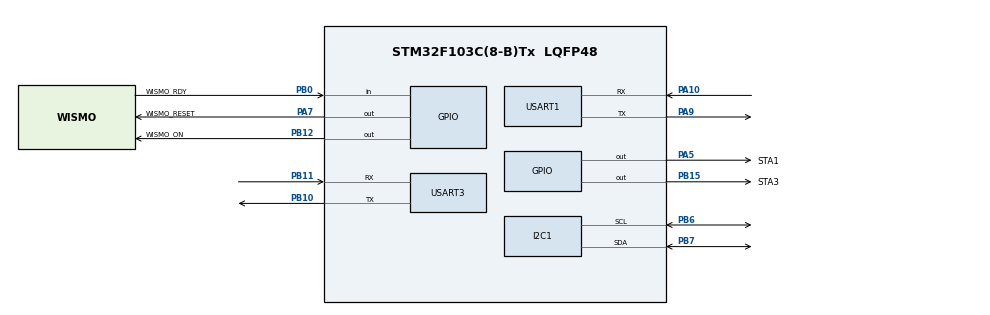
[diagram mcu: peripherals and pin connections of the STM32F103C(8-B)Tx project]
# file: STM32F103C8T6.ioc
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FREERTOS.BinarySemaphores01=myBinarySem01,Dynamic,NULL
FREERTOS.Queues01=datQueue,3,uint32_t,0,Dynamic,NULL,NULL;ledQueue,3,uint16_t,0,Dynamic,NULL,NULL
FREERTOS.Tasks01=defaultTaskName,0,128,defaultTask,Default,NULL,Dynamic,NULL,NULL;gsmTaskName,0,1024,GsmTask,As external,NULL,Dynamic,NULL,NULL;displayTaskName,0,128,displayTaskFunc,Default,NULL,Dynamic,NULL,NULL;LEDTaskName,0,128,LEDTask,Default,NULL,Dynamic,NULL,NULL;sttCheckRoutine,0,128,sttCheckRoutineTask,As external,NULL,Dynamic,NULL,NULL
FREERTOS.configTOTAL_HEAP_SIZE=8192
Mcu.Family=STM32F1
Mcu.Name=STM32F103C(8-B)Tx
Mcu.Package=LQFP48
NVIC.PriorityGroup=NVIC_PRIORITYGROUP_4
NVIC.TIM4_IRQn=true\:0\:0\:false\:false\:true\:false\:false
NVIC.TimeBase=TIM4_IRQn
NVIC.TimeBaseIP=TIM4
NVIC.USART1_IRQn=true\:5\:0\:false\:false\:true\:true\:true
NVIC.USART3_IRQn=true\:5\:0\:false\:false\:true\:true\:true
PA10.Mode=Asynchronous
PA10.Signal=USART1_RX
PA13.Mode=Serial_Wire
PA13.Signal=SYS_JTMS-SWDIO
PA14.Mode=Serial_Wire
PA14.Signal=SYS_JTCK-SWCLK
PA5.GPIO_Label=STA1
PA5.Signal=GPIO_Output
PA7.GPIO_Label=WISMO_RESET
PA7.Signal=GPIO_Output
PA9.Mode=Asynchronous
PA9.Signal=USART1_TX
PB0.GPIO_Label=WISMO_RDY
PB0.Signal=GPIO_Input
PB10.Mode=Asynchronous
PB10.Signal=USART3_TX
PB11.Mode=Asynchronous
PB11.Signal=USART3_RX
PB12.GPIO_Label=WISMO_ON
PB12.Signal=GPIO_Output
PB15.GPIO_Label=STA3
PB15.Signal=GPIO_Output
PB6.Mode=I2C
PB6.Signal=I2C1_SCL
PB7.Mode=I2C
PB7.Signal=I2C1_SDA
ProjectManager.HeapSize=0x200
ProjectManager.StackSize=0x400
ProjectManager.TargetToolchain=TrueSTUDIO
RCC.APB1Freq_Value=8000000
RCC.APB2Freq_Value=8000000
USART1.VirtualMode=VM_ASYNC
USART3.VirtualMode=VM_ASYNC
VP_FREERTOS_VS_ENABLE.Mode=Enabled
VP_SYS_VS_tim4.Mode=TIM4
board=custom

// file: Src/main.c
/* USER CODE BEGIN Header */
/**
  ******************************************************************************
  * @file           : main.c
  * @brief          : Main program body
  ******************************************************************************
  * This notice applies to any and all portions of this file
  * that are not between comment pairs USER CODE BEGIN and
  * USER CODE END. Other portions of this file, whether
  * inserted by the user or by software development tools
  * are owned by their respective copyright owners.
  *
  * Copyright (c) 2019 STMicroelectronics International N.V.
  * All rights reserved.
  *
  * Redistribution and use in source and binary forms, with or without
  * modification, are permitted, provided that the following conditions are met:
  *
  * 1. Redistribution of source code must retain the above copyright notice,
  *    this list of conditions and the following disclaimer.
  * 2. Redistributions in binary form must reproduce the above copyright notice,
  *    this list of conditions and the following disclaimer in the documentation
  *    and/or other materials provided with the distribution.
  * 3. Neither the name of STMicroelectronics nor the names of other
  *    contributors to this software may be used to endorse or promote products
  *    derived from this software without specific written permission.
  * 4. This software, including modifications and/or derivative works of this
  *    software, must execute solely and exclusively on microcontroller or
  *    microprocessor devices manufactured by or for STMicroelectronics.
  * 5. Redistribution and use of this software other than as permitted under
  *    this license is void and will automatically terminate your rights under
  *    this license.
  *
  * THIS SOFTWARE IS PROVIDED BY STMICROELECTRONICS AND CONTRIBUTORS "AS IS"
  * AND ANY EXPRESS, IMPLIED OR STATUTORY WARRANTIES, INCLUDING, BUT NOT
  * LIMITED TO, THE IMPLIED WARRANTIES OF MERCHANTABILITY, FITNESS FOR A
  * PARTICULAR PURPOSE AND NON-INFRINGEMENT OF THIRD PARTY INTELLECTUAL PROPERTY
  * RIGHTS ARE DISCLAIMED TO THE FULLEST EXTENT PERMITTED BY LAW. IN NO EVENT
  * SHALL STMICROELECTRONICS OR CONTRIBUTORS BE LIABLE FOR ANY DIRECT, INDIRECT,
  * INCIDENTAL, SPECIAL, EXEMPLARY, OR CONSEQUENTIAL DAMAGES (INCLUDING, BUT NOT
  * LIMITED TO, PROCUREMENT OF SUBSTITUTE GOODS OR SERVICES; LOSS OF USE, DATA,
  * OR PROFITS; OR BUSINESS INTERRUPTION) HOWEVER CAUSED AND ON ANY THEORY OF
  * LIABILITY, WHETHER IN CONTRACT, STRICT LIABILITY, OR TORT (INCLUDING
  * NEGLIGENCE OR OTHERWISE) ARISING IN ANY WAY OUT OF THE USE OF THIS SOFTWARE,
  * EVEN IF ADVISED OF THE POSSIBILITY OF SUCH DAMAGE.
  *
  ******************************************************************************
  */
/* USER CODE END Header */

#include "main.h"
#include "cmsis_os.h"

/* USER CODE BEGIN PM */
#define BUFF_SIZE 256
/* USER CODE END PM */

I2C_HandleTypeDef hi2c1;

UART_HandleTypeDef huart1;
UART_HandleTypeDef huart3;

osThreadId defaultTaskNameHandle;
osThreadId gsmTaskNameHandle;
osThreadId displayTaskNameHandle;
osThreadId LEDTaskNameHandle;
osThreadId sttCheckRoutineHandle;
osMessageQId datQueueHandle;
osMessageQId ledQueueHandle;
osSemaphoreId myBinarySem01Handle;
/* USER CODE BEGIN PV */
RINGBUF RxUart3RingBuff;
RINGBUF RxUart1RingBuff;
uint8_t ring3_buff[BUFF_SIZE];
uint8_t ring1_buff[BUFF_SIZE];
#ifdef __GNUC__
/* With GCC/RAISONANCE, small printf (option LD Linker->Libraries->Small printf
   set to 'Yes') calls __io_putchar() */
#define PUTCHAR_PROTOTYPE int __io_putchar(int ch)
#else
#define PUTCHAR_PROTOTYPE int fputc(int ch, FILE *f)
#endif /* __GNUC__ */

PUTCHAR_PROTOTYPE
{
  //HAL_UART_Transmit(&huart1, (uint8_t *)&ch, 1, 0xFFFF);
	RINGBUF_Put(&RxUart3RingBuff, ch);
  return ch;
}
/* USER CODE END PV */

void SystemClock_Config(void);
static void MX_GPIO_Init(void);
static void MX_USART1_UART_Init(void);
static void MX_USART3_UART_Init(void);
static void MX_I2C1_Init(void);
void defaultTask(void const * argument);
extern void GsmTask(void const * argument);
void displayTaskFunc(void const * argument);
void LEDTask(void const * argument);
extern void sttCheckRoutineTask(void const * argument);

int main(void)
{

  /* MCU Configuration--------------------------------------------------------*/

  /* Reset of all peripherals, Initializes the Flash interface and the Systick. */
  HAL_Init();

  /* Configure the system clock */
  SystemClock_Config();

  /* Initialize all configured peripherals */
  MX_GPIO_Init();
  MX_USART1_UART_Init();
  MX_USART3_UART_Init();
  MX_I2C1_Init();
  /* USER CODE BEGIN 2 */
  HAL_GPIO_WritePin(GPIOB, STA3_Pin, GPIO_PIN_SET);
	RINGBUF_Init(&RxUart3RingBuff, ring3_buff, BUFF_SIZE);
	RINGBUF_Init(&RxUart1RingBuff, ring1_buff, BUFF_SIZE);
	//TODO: remove it system hang
	printf("UC15 STM32\r\n");
  /* USER CODE END 2 */

  /* Create the semaphores(s) */
  /* definition and creation of myBinarySem01 */
  osSemaphoreDef(myBinarySem01);
  myBinarySem01Handle = osSemaphoreCreate(osSemaphore(myBinarySem01), 1);

  /* Create the thread(s) */
  /* definition and creation of defaultTaskName */
  osThreadDef(defaultTaskName, defaultTask, osPriorityNormal, 0, 128);
  defaultTaskNameHandle = osThreadCreate(osThread(defaultTaskName), NULL);

  /* definition and creation of gsmTaskName */
  osThreadDef(gsmTaskName, GsmTask, osPriorityNormal, 0, 1024);
  gsmTaskNameHandle = osThreadCreate(osThread(gsmTaskName), NULL);

  /* definition and creation of displayTaskName */
  osThreadDef(displayTaskName, displayTaskFunc, osPriorityNormal, 0, 128);
  displayTaskNameHandle = osThreadCreate(osThread(displayTaskName), NULL);

  /* definition and creation of LEDTaskName */
  osThreadDef(LEDTaskName, LEDTask, osPriorityNormal, 0, 128);
  LEDTaskNameHandle = osThreadCreate(osThread(LEDTaskName), NULL);

  /* definition and creation of sttCheckRoutine */
  osThreadDef(sttCheckRoutine, sttCheckRoutineTask, osPriorityNormal, 0, 128);
  sttCheckRoutineHandle = osThreadCreate(osThread(sttCheckRoutine), NULL);

  /* Create the queue(s) */
  /* definition and creation of datQueue */
  osMessageQDef(datQueue, 3, uint32_t);
  datQueueHandle = osMessageCreate(osMessageQ(datQueue), NULL);

  /* definition and creation of ledQueue */
  osMessageQDef(ledQueue, 3, uint16_t);
  ledQueueHandle = osMessageCreate(osMessageQ(ledQueue), NULL);

  /* Start scheduler */
  osKernelStart();

  /* We should never get here as control is now taken by the scheduler */

  /* Infinite loop */
  while (1)
  {

  }
}

void SystemClock_Config(void)
{
  RCC_OscInitTypeDef RCC_OscInitStruct = {0};
  RCC_ClkInitTypeDef RCC_ClkInitStruct = {0};

  /**Initializes the CPU, AHB and APB busses clocks
  */
  RCC_OscInitStruct.OscillatorType = RCC_OSCILLATORTYPE_HSI;
  RCC_OscInitStruct.HSIState = RCC_HSI_ON;
  RCC_OscInitStruct.HSICalibrationValue = RCC_HSICALIBRATION_DEFAULT;
  RCC_OscInitStruct.PLL.PLLState = RCC_PLL_NONE;
  if (HAL_RCC_OscConfig(&RCC_OscInitStruct) != HAL_OK)
  {
    Error_Handler();
  }
  /**Initializes the CPU, AHB and APB busses clocks
  */
  RCC_ClkInitStruct.ClockType = RCC_CLOCKTYPE_HCLK|RCC_CLOCKTYPE_SYSCLK
                              |RCC_CLOCKTYPE_PCLK1|RCC_CLOCKTYPE_PCLK2;
  RCC_ClkInitStruct.SYSCLKSource = RCC_SYSCLKSOURCE_HSI;
  RCC_ClkInitStruct.AHBCLKDivider = RCC_SYSCLK_DIV1;
  RCC_ClkInitStruct.APB1CLKDivider = RCC_HCLK_DIV1;
  RCC_ClkInitStruct.APB2CLKDivider = RCC_HCLK_DIV1;

  if (HAL_RCC_ClockConfig(&RCC_ClkInitStruct, FLASH_LATENCY_0) != HAL_OK)
  {
    Error_Handler();
  }
}

static void MX_I2C1_Init(void)
{

  hi2c1.Instance = I2C1;
  hi2c1.Init.ClockSpeed = 100000;
  hi2c1.Init.DutyCycle = I2C_DUTYCYCLE_2;
  hi2c1.Init.OwnAddress1 = 0;
  hi2c1.Init.AddressingMode = I2C_ADDRESSINGMODE_7BIT;
  hi2c1.Init.DualAddressMode = I2C_DUALADDRESS_DISABLE;
  hi2c1.Init.OwnAddress2 = 0;
  hi2c1.Init.GeneralCallMode = I2C_GENERALCALL_DISABLE;
  hi2c1.Init.NoStretchMode = I2C_NOSTRETCH_DISABLE;
  if (HAL_I2C_Init(&hi2c1) != HAL_OK)
  {
    Error_Handler();
  }

}

static void MX_USART1_UART_Init(void)
{

  huart1.Instance = USART1;
  huart1.Init.BaudRate = 115200;
  huart1.Init.WordLength = UART_WORDLENGTH_8B;
  huart1.Init.StopBits = UART_STOPBITS_1;
  huart1.Init.Parity = UART_PARITY_NONE;
  huart1.Init.Mode = UART_MODE_TX_RX;
  huart1.Init.HwFlowCtl = UART_HWCONTROL_NONE;
  huart1.Init.OverSampling = UART_OVERSAMPLING_16;
  if (HAL_UART_Init(&huart1) != HAL_OK)
  {
    Error_Handler();
  }

}

static void MX_USART3_UART_Init(void)
{

  huart3.Instance = USART3;
  huart3.Init.BaudRate = 115200;
  huart3.Init.WordLength = UART_WORDLENGTH_8B;
  huart3.Init.StopBits = UART_STOPBITS_1;
  huart3.Init.Parity = UART_PARITY_NONE;
  huart3.Init.Mode = UART_MODE_TX_RX;
  huart3.Init.HwFlowCtl = UART_HWCONTROL_NONE;
  huart3.Init.OverSampling = UART_OVERSAMPLING_16;
  if (HAL_UART_Init(&huart3) != HAL_OK)
  {
    Error_Handler();
  }

}

static void MX_GPIO_Init(void)
{
  GPIO_InitTypeDef GPIO_InitStruct = {0};

  /* GPIO Ports Clock Enable */
  __HAL_RCC_GPIOA_CLK_ENABLE();
  __HAL_RCC_GPIOB_CLK_ENABLE();

  /*Configure GPIO pin Output Level */
  HAL_GPIO_WritePin(GPIOA, STA1_Pin|WISMO_RESET_Pin, GPIO_PIN_RESET);

  /*Configure GPIO pin Output Level */
  HAL_GPIO_WritePin(GPIOB, WISMO_ON_Pin|STA3_Pin, GPIO_PIN_RESET);

  /*Configure GPIO pins : STA1_Pin WISMO_RESET_Pin */
  GPIO_InitStruct.Pin = STA1_Pin|WISMO_RESET_Pin;
  GPIO_InitStruct.Mode = GPIO_MODE_OUTPUT_PP;
  GPIO_InitStruct.Pull = GPIO_NOPULL;
  GPIO_InitStruct.Speed = GPIO_SPEED_FREQ_LOW;
  HAL_GPIO_Init(GPIOA, &GPIO_InitStruct);

  /*Configure GPIO pin : WISMO_RDY_Pin */
  GPIO_InitStruct.Pin = WISMO_RDY_Pin;
  GPIO_InitStruct.Mode = GPIO_MODE_INPUT;
  GPIO_InitStruct.Pull = GPIO_NOPULL;
  HAL_GPIO_Init(WISMO_RDY_GPIO_Port, &GPIO_InitStruct);

  /*Configure GPIO pins : WISMO_ON_Pin STA3_Pin */
  GPIO_InitStruct.Pin = WISMO_ON_Pin|STA3_Pin;
  GPIO_InitStruct.Mode = GPIO_MODE_OUTPUT_PP;
  GPIO_InitStruct.Pull = GPIO_NOPULL;
  GPIO_InitStruct.Speed = GPIO_SPEED_FREQ_LOW;
  HAL_GPIO_Init(GPIOB, &GPIO_InitStruct);

}

void defaultTask(void const * argument)
{

  for(;;)
  {
    osDelay(1);
  }
}

void displayTaskFunc(void const * argument)
{
  /* USER CODE BEGIN displayTaskFunc */
  /* Infinite loop */
	uint8_t rxchar;
  for(;;)
  {
	if(RINGBUF_GetFill(&RxUart3RingBuff)){
		RINGBUF_Get(&RxUart3RingBuff, &rxchar);
		HAL_UART_Transmit(&huart1, &rxchar, 1, 0xFFFF);
	}
	if(RINGBUF_GetFill(&RxUart1RingBuff)){
		RINGBUF_Get(&RxUart1RingBuff, &rxchar);
		HAL_UART_Transmit(&huart3, &rxchar, 1, 0xFFFF);
		HAL_UART_Transmit(&huart1, &rxchar, 1, 0xFFFF);
	}
  }
  /* USER CODE END displayTaskFunc */
}

void LEDTask(void const * argument)
{
	osEvent event;
	uint16_t data = 0;
  /* USER CODE BEGIN LEDTask */
  /* Infinite loop */
  for(;;)
  {
	  if(osMessageWaiting(ledQueueHandle)){
		  event = osMessageGet(ledQueueHandle, 10);
		  data = event.value.v;
	  }

	if(data & POW_FLAG){
		osDelay(100);
		HAL_GPIO_TogglePin(GPIOB,STA3_Pin);
		osDelay(50);
		HAL_GPIO_TogglePin(GPIOB,STA3_Pin);
	} else {
		osDelay(1000);
		HAL_GPIO_TogglePin(GPIOB,STA3_Pin);
		osDelay(100);
		HAL_GPIO_TogglePin(GPIOB,STA3_Pin);
	}
  }
  /* USER CODE END LEDTask */
}

void HAL_TIM_PeriodElapsedCallback(TIM_HandleTypeDef *htim)
{
  if (htim->Instance == TIM4) {
    HAL_IncTick();
  }
}

void Error_Handler(void)
{
}

/************************ (C) COPYRIGHT STMicroelectronics *****END OF FILE****/
